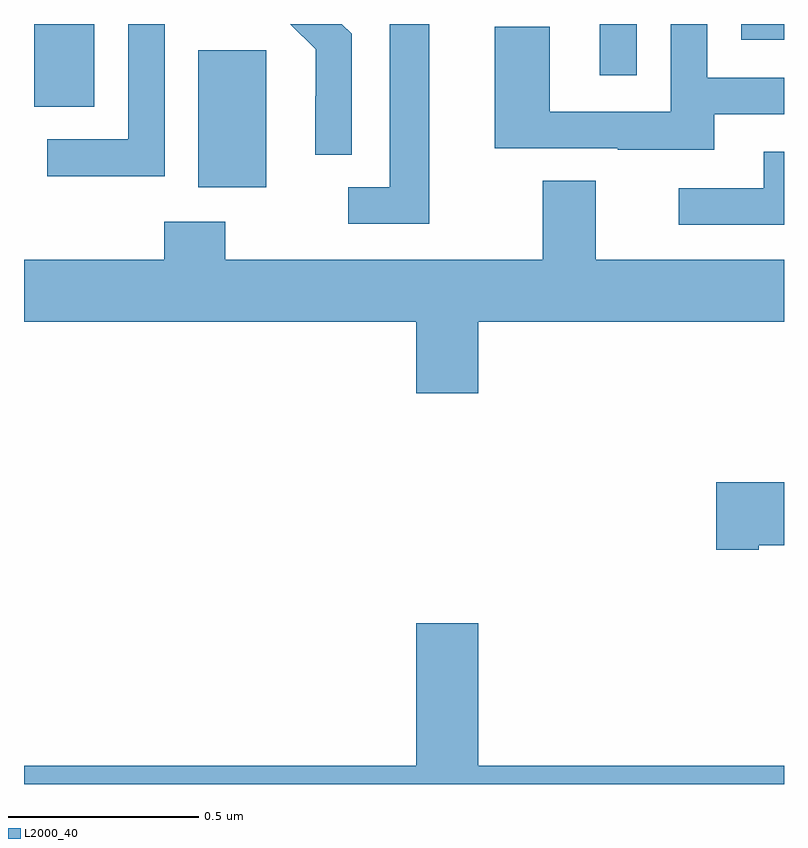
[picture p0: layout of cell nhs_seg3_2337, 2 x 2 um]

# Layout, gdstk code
import gdstk
lib = gdstk.Library(unit=1e-6, precision=1e-09)
def R(c, l, rs):  # rectangles x0, y0, x1, y1
    for r in rs: c.add(gdstk.rectangle(r[:2], r[2:], *l))
def P(c, l, *ps):  # polygons
    for p in ps: c.add(gdstk.Polygon(p, *l))
L2000_40 = (2000, 40)

nhs_seg3_2337 = lib.new_cell('nhs_seg3_2337')
R(nhs_seg3_2337, L2000_40, [(140.459,667.97,140.638,668.331), (140.027,668.182,140.185,668.4), (141.515,668.265,141.612,668.4), (141.888,668.358,142,668.4)])
P(nhs_seg3_2337, L2000_40, [(141.067,668.4),(140.963,668.4),(140.963,667.971),(140.853,667.971),(140.853,667.875),(141.067,667.875)],
  [(141.817,668.163),(142,668.163),(142,668.259),(141.798,668.259),(141.798,668.4),(141.702,668.4),(141.702,668.169),(141.384,668.169),(141.384,668.393),(141.239,668.393),(141.239,668.073),(141.563,668.073),(141.563,668.069),(141.817,668.069)],
  [(140.37,668.4),(140.274,668.4),(140.274,668.097),(140.061,668.097),(140.061,667.999),(140.37,667.999)],
  [(140.862,668.374),(140.836,668.4),(140.7,668.4),(140.768,668.333),(140.768,668.21),(140.766,668.21),(140.766,668.056),(140.862,668.056)],
  [(142,668.064),(141.947,668.064),(141.947,667.968),(141.723,667.968),(141.723,667.872),(142,667.872)],
  [(141.196,667.616),(142,667.616),(142,667.78),(141.505,667.78),(141.505,667.988),(141.365,667.988),(141.365,667.78),(140.529,667.78),(140.529,667.879),(140.369,667.879),(140.369,667.78),(140,667.78),(140,667.616),(141.032,667.616),(141.032,667.428),(141.196,667.428)],
  [(141.934,667.028),(142,667.028),(142,667.194),(141.822,667.194),(141.822,667.016),(141.934,667.016)],
  [(142,666.448),(141.196,666.448),(141.196,666.823),(141.032,666.823),(141.032,666.448),(140,666.448),(140,666.4),(142,666.4)])

lib.write_gds('nhs_seg3_2337.gds')
